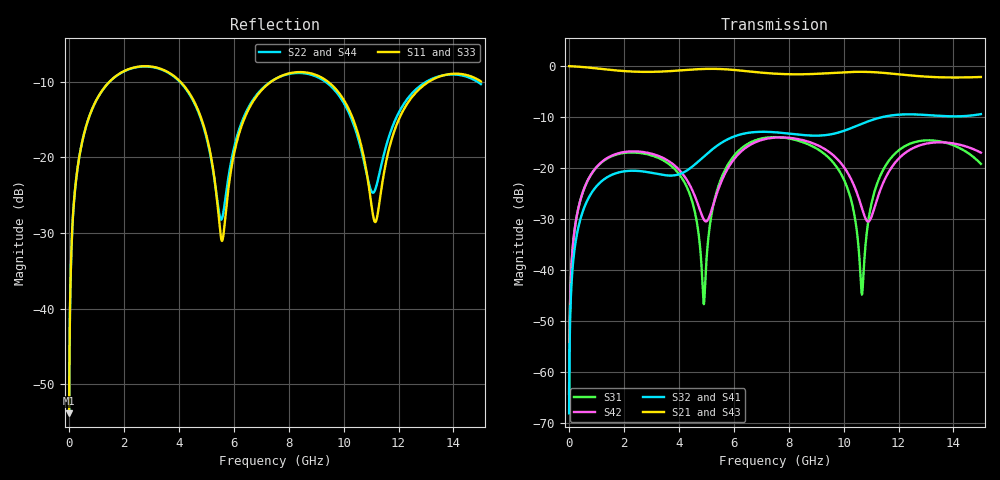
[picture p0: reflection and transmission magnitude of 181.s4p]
! Created with skrf 1.8.0 (http://scikit-rf.org).
# GHz S RI R 50.0
!freq ReS11 ImS11 ReS12 ImS12 ReS13 ImS13
! ReS14 ImS14
! ReS21 ImS21 ReS22 ImS22 ReS23 ImS23
! ReS24 ImS24
! ReS31 ImS31 ReS32 ImS32 ReS33 ImS33
! ReS34 ImS34
! ReS41 ImS41 ReS42 ImS42 ReS43 ImS43
! ReS44 ImS44
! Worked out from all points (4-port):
!   2499 points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, 5 MHz to 15 GHz, reference 50 ohm
!   strongest paths, dB at 5 MHz, 3.476 GHz, 7.19 GHz, 11.1 GHz, 15 GHz:
!     S21: 0.0, -1.0, -1.4, -1.2, -2.1
!     S43: 0.0, -1.0, -1.4, -1.2, -2.1
!     S32: -68.2, -21.4, -12.9, -10.5, -9.4
!     S41: -68.2, -21.4, -12.9, -10.5, -9.4
!     S42: -64.4, -18.2, -14.3, -28.3, -17.0
!     S31: -64.4, -18.6, -14.0, -25.2, -19.2
!   lowest |S11| = -53.8 dB at 5 MHz (marker M1), VSWR 1.00, Z = 50.2 + j0.124 ohm
!   |S11| at or under -10 dB: start of sweep to 1.483 GHz; 4.05 GHz to 7.37 GHz (3.321 GHz wide, 58.2 % of centre); 9.422 GHz to 13.12 GHz (3.695 GHz wide, 32.8 % of centre)
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0.005  0.00162 0.00124  0.9984 -0.00315  7.97e-05 0.0006  -7.77e-05 -0.000383
       0.9984 -0.00315  0.00162 0.00124  -7.77e-05 -0.000383  7.98e-05 0.0006
       7.97e-05 0.0006  -7.77e-05 -0.000383  0.00162 0.00124  0.9984 -0.00315
       -7.77e-05 -0.000383  7.98e-05 0.0006  0.9984 -0.00315  0.00162 0.00124
0.3126303  0.0235 0.0814  0.968 -0.1961  0.00991 0.0357  -0.0085 -0.0225
           0.968 -0.1961  0.0234 0.0814  -0.0085 -0.0225  0.0103 0.0356
           0.00991 0.0357  -0.0085 -0.0225  0.0235 0.0814  0.968 -0.1961
           -0.0085 -0.0225  0.0103 0.0356  0.968 -0.1961  0.0234 0.0814
1.519383  0.2626 0.1846  0.5712 -0.7178  0.113 0.0622  -0.084 -0.01
          0.5712 -0.7178  0.2608 0.1858  -0.0841 -0.00994  0.1182 0.0555
          0.113 0.0622  -0.0841 -0.00994  0.2625 0.1846  0.5712 -0.7178
          -0.084 -0.01  0.1182 0.0555  0.5712 -0.7178  0.2608 0.1857
4.908295  0.0788 -0.1401  -0.8454 -0.4049  0.00451 0.00096  -0.0523 0.1182
          -0.8454 -0.4049  0.0866 -0.1309  -0.0512 0.1187  -0.0268 -0.0161
          0.00451 0.00096  -0.0512 0.1187  0.0792 -0.1398  -0.8454 -0.4047
          -0.0523 0.1182  -0.0268 -0.0161  -0.8454 -0.4047  0.086 -0.131
8.653606  0.3588 -0.052  0.0264 0.8326  0.1569 -0.0737  0.1938 -0.0752
          0.0264 0.8326  0.3534 -0.0468  0.1938 -0.0785  0.1545 -0.0986
          0.1569 -0.0737  0.1938 -0.0785  0.3598 -0.0504  0.0265 0.832
          0.1938 -0.0752  0.1545 -0.0986  0.0265 0.832  0.3553 -0.0488
10.66694  0.0627 -0.0955  0.8022 0.3585  0.00568 -0.000536  0.1054 -0.2503
          0.8022 0.3585  0.0768 -0.075  0.0997 -0.2526  -0.0328 -0.0237
          0.00568 -0.000536  0.0997 -0.2526  0.0681 -0.0952  0.802 0.3586
          0.1054 -0.2503  -0.0328 -0.0237  0.802 0.3586  0.0727 -0.0787
15  0.2959 -0.1137  -0.2744 -0.7319  0.0109 -0.1091  -0.3076 0.1382
    -0.2744 -0.7319  0.2851 -0.1059  -0.3038 0.1472  -0.00426 -0.1415
    0.0109 -0.1091  -0.3038 0.1472  0.2981 -0.1133  -0.2747 -0.731
    -0.3076 0.1382  -0.00426 -0.1415  -0.2747 -0.731  0.2859 -0.1086
